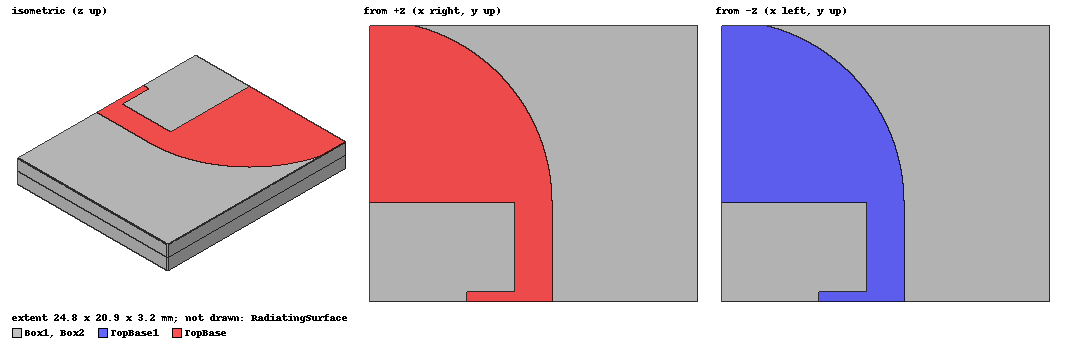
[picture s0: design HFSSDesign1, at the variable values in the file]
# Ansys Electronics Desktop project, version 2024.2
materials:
  vacuum: permittivity=1
  FR4_epoxy: permittivity=4.4 dielectric_loss_tangent=0.02

design HFSSDesign1 (HFSS, HFSS Modal Network, model units mm)
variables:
  W = 24.8mm
  L = 25mm
  Lg = 15mm
  Wg = 11mm
  Lf = 7.5mm
  Wd = 2.8mm
  Ld = 0.8mm
  Wf = 6.5mm
  h = 1.6mm
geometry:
  Circle1 = circle(normal=Z, centre=(0mm, 0mm, 0mm), radius=Wg+Wd)
  TopLeaf = rectangle(corner=(0mm, 0mm, 0mm), x_size=W, y_size=Lg-(Ld*2))
  TopLeaf.intersect(Circle1)
  TopSupport = rectangle(corner=(Wg, -Lf, 0mm), x_size=Wd, y_size=Lf)
  TopBase = rectangle(corner=(Wg-Wf+Wd, -Lf, 0mm), x_size=Wf, y_size=ld)
  grd = rectangle(corner=(0mm, -((Lg-(Ld*2)+Lf) - (lg - (Ld*2))), -h), x_size=W, y_size=Lg-(Ld*2)+Lf)
  Box1 [FR4_epoxy] = box(corner=(0mm, -((Lg-(Ld*2)+Lf) - (lg - (Ld*2))), -h), size=(W, Lg-(Ld*2)+Lf, h))
  Box2 [FR4_epoxy] = box(corner=(0mm, -((Lg-(Ld*2)+Lf) - (lg - (Ld*2))), -h*2), size=(W, Lg-(Ld*2)+Lf, h))
  TopBase.unite(TopLeaf, TopSupport)
  TopBase1 = rectangle(corner=(Wg-Wf+Wd, -Lf, -2*h), x_size=Wf, y_size=ld)
  TopLeaf2 = rectangle(corner=(0mm, 0mm, -2*h), x_size=W, y_size=Lg-(Ld*2))
  Circle4 = circle(normal=Z, centre=(0mm, 0mm, -2*h), radius=Wg+Wd)
  TopLeaf2.intersect(Circle4)
  TopSupport1 = rectangle(corner=(Wg, -Lf, -2*h), x_size=Wd, y_size=Lf)
  TopBase1.unite(TopLeaf2, TopSupport1)
  TopBase1.mirror(point=(12.4mm, 0mm, 0mm), normal=(-1mm, 0mm, 0mm))
  Rectangle4 = rectangle(corner=(11mm, -7.5mm, 0mm), z_size=-1.6mm, x_size=2.8mm)
  Rectangle5 = rectangle(corner=(11mm, -7.5mm, -1.6mm), z_size=-1.6mm, x_size=2.8mm)
  RadiatingSurface [vacuum] = region(absolute_offset=10mm on all sides)
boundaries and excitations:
  PerfE3: Perfect E Objects=TopBase
  PerfE7: Perfect E Objects=grd
  PerfE8: Perfect E Objects=TopBase1
  Open1: Radiation Objects=RadiatingSurface
  1: Lumped Port Objects=Rectangle4 LumpedPortType=Modal Modes{Mode1{IntLine{(12.4, -7.5, -1.6) -> (12.4, -7.5, 0)} CharImp=Zpi RenormImp=50ohm}} Impedance=50ohm
  2: Lumped Port Objects=Rectangle5 LumpedPortType=Modal Modes{Mode1{IntLine{(12.4, -7.5, -1.6) -> (12.4, -7.5, -3.2)} CharImp=Zpi RenormImp=50ohm}} Impedance=50ohm
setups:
  Setup1: HfssDriven MultipleAdaptiveFreqsSetup{AdaptAt{Frequency=2.4GHz Delta=0.02} AdaptAt{Frequency=7.7GHz Delta=0.02} AdaptAt{Frequency=10.6GHz Delta=0.02} AdaptAt{Frequency=12GHz Delta=0.02}} MaximumPasses=6 MinimumPasses=1 MinimumConvergedPasses=1 PercentRefinement=30 BasisOrder=1 PortAccuracy=2 DrivenSolverType="Direct Solver"
    sweep Sweep: 1GHz to 16.8GHz, 201 points; Type=Discrete SaveFields
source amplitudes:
  1:1: 1W 0deg
  2:1: 0W 0deg
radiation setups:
  3D: Infinite Sphere Theta=0deg..180deg step 2deg Phi=-180deg..180deg step 2deg
  Elevation: Infinite Sphere Theta=-180deg..180deg step 1deg Phi=0deg..90deg step 90deg
  Azimuth: Infinite Sphere Theta=90deg..90deg step 0deg Phi=-180deg..180deg step 1deg
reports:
  S Parameter Plot 1: dB(S(1,1)) vs Freq on Setup1 : Sweep
  Gain Plot 1: dB(DirTotal) vs Theta on Setup1 : Sweep, Elevation [Phi=all Freq=12.06GHz]
  rE Plot 1: dB(rETotal) vs Theta on Setup1 : Sweep, Elevation [Phi=all Freq=1GHz]
